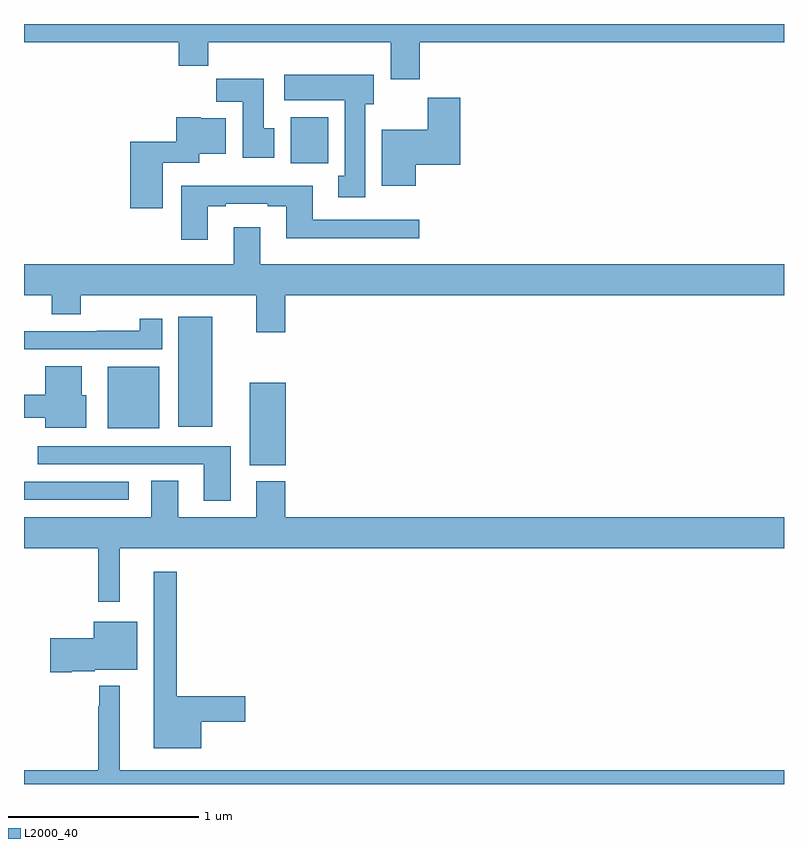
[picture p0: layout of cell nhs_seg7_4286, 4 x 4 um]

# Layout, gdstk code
import gdstk
lib = gdstk.Library(unit=1e-6, precision=1e-09)
def R(c, l, rs):  # rectangles x0, y0, x1, y1
    for r in rs: c.add(gdstk.rectangle(r[:2], r[2:], *l))
def P(c, l, *ps):  # polygons
    for p in ps: c.add(gdstk.Polygon(p, *l))
L2000_40 = (2000, 40)

nhs_seg7_4286 = lib.new_cell('nhs_seg7_4286')
R(nhs_seg7_4286, L2000_40, [(381,1043.496,381.55,1043.592), (382.187,1043.678,382.378,1044.112), (381.44,1043.873,381.712,1044.196), (381.812,1043.879,381.991,1044.46), (382.403,1045.268,382.6,1045.51)])
P(nhs_seg7_4286, L2000_40, [(383.084,1045.904),(385,1045.904),(385,1046),(381,1046),(381,1045.904),(381.815,1045.904),(381.815,1045.78),(381.971,1045.78),(381.971,1045.904),(382.931,1045.904),(382.931,1045.71),(383.084,1045.71)],
  [(382.795,1045.578),(382.84,1045.578),(382.84,1045.732),(382.371,1045.732),(382.371,1045.598),(382.688,1045.598),(382.688,1045.202),(382.655,1045.202),(382.655,1045.089),(382.795,1045.089)],
  [(382.318,1045.452),(382.261,1045.452),(382.261,1045.711),(382.012,1045.711),(382.012,1045.592),(382.151,1045.592),(382.151,1045.296),(382.318,1045.296)],
  [(383.062,1045.259),(383.297,1045.259),(383.297,1045.612),(383.126,1045.612),(383.126,1045.444),(382.883,1045.444),(382.883,1045.148),(383.062,1045.148)],
  [(381.73,1045.271),(381.922,1045.271),(381.922,1045.316),(382.063,1045.316),(382.063,1045.504),(381.93,1045.504),(381.93,1045.51),(381.8,1045.51),(381.8,1045.381),(381.56,1045.381),(381.56,1045.029),(381.73,1045.029)],
  [(381.967,1045.041),(382.063,1045.041),(382.063,1045.053),(382.283,1045.053),(382.283,1045.041),(382.379,1045.041),(382.379,1044.872),(383.08,1044.872),(383.08,1044.969),(382.519,1044.969),(382.519,1045.15),(381.827,1045.15),(381.827,1044.864),(381.967,1044.864)],
  [(382.376,1044.572),(385,1044.572),(385,1044.736),(382.243,1044.736),(382.243,1044.93),(382.103,1044.93),(382.103,1044.736),(381,1044.736),(381,1044.572),(381.146,1044.572),(381.146,1044.473),(381.299,1044.473),(381.299,1044.572),(382.223,1044.572),(382.223,1044.378),(382.376,1044.378)],
  [(381.727,1044.448),(381.61,1044.448),(381.61,1044.386),(381.382,1044.386),(381.382,1044.384),(381,1044.384),(381,1044.288),(381.727,1044.288)],
  [(381.328,1044.045),(381.304,1044.045),(381.304,1044.199),(381.113,1044.199),(381.113,1044.049),(381,1044.049),(381,1043.927),(381.113,1043.927),(381.113,1043.876),(381.328,1043.876)],
  [(382.087,1043.778),(381.072,1043.778),(381.072,1043.682),(381.947,1043.682),(381.947,1043.49),(382.087,1043.49)],
  [(381.505,1043.24),(385,1043.24),(385,1043.404),(382.376,1043.404),(382.376,1043.593),(382.223,1043.593),(382.223,1043.404),(381.811,1043.404),(381.811,1043.597),(381.671,1043.597),(381.671,1043.404),(381,1043.404),(381,1043.24),(381.391,1043.24),(381.391,1042.959),(381.505,1042.959)],
  [(381.934,1042.328),(382.165,1042.328),(382.165,1042.463),(381.805,1042.463),(381.805,1043.116),(381.683,1043.116),(381.683,1042.187),(381.934,1042.187)],
  [(381.25,1042.594),(381.372,1042.594),(381.372,1042.601),(381.595,1042.601),(381.595,1042.855),(381.368,1042.855),(381.368,1042.767),(381.138,1042.767),(381.138,1042.589),(381.25,1042.589)],
  [(385,1042.072),(381.505,1042.072),(381.505,1042.516),(381.395,1042.516),(381.395,1042.409),(381.391,1042.409),(381.391,1042.072),(381,1042.072),(381,1042),(385,1042)])

lib.write_gds('nhs_seg7_4286.gds')
